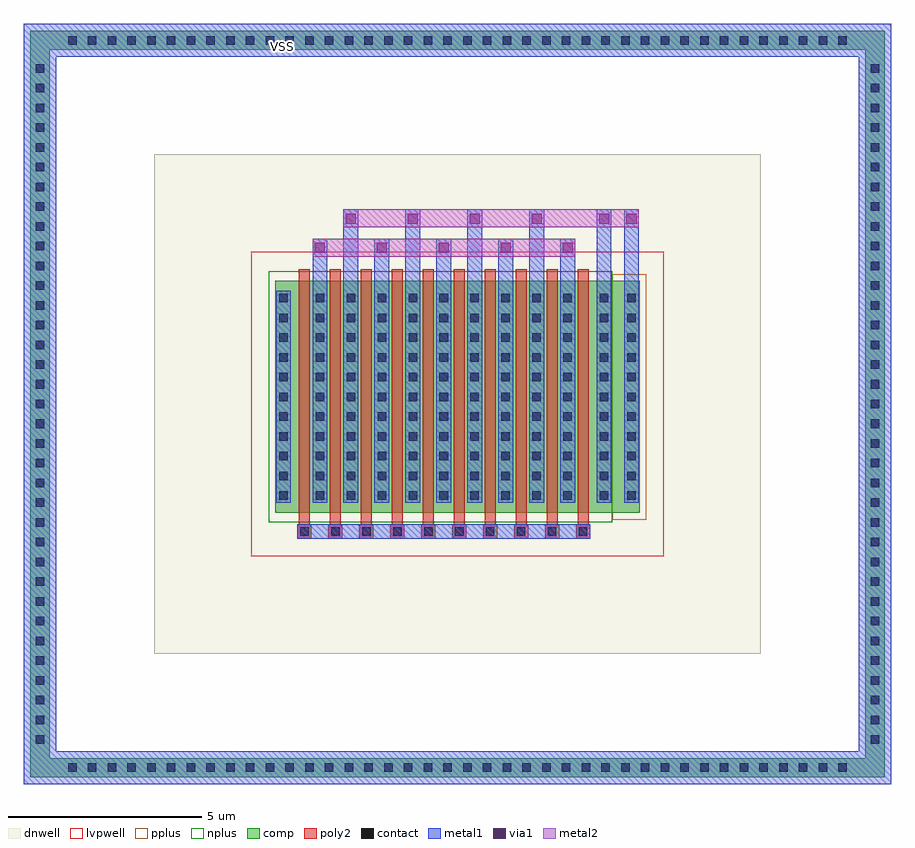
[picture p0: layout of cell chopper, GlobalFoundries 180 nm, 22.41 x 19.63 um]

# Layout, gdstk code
import gdstk
lib = gdstk.Library(unit=1e-6, precision=1e-09)
def R(c, l, rs):  # rectangles x0, y0, x1, y1
    for r in rs: c.add(gdstk.rectangle(r[:2], r[2:], *l))
def A(c, l, x, y, w, h, nx, ny, dx, dy):  # array of equal rectangles
    R(c, l, [(x+i*dx, y+j*dy, x+i*dx+w, y+j*dy+h) for i in range(nx) for j in range(ny)])
def P(c, l, *ps):  # polygons
    for p in ps: c.add(gdstk.Polygon(p, *l))
dnwell = (12, 0)
comp = (22, 0)
poly2 = (30, 0)
pplus = (31, 0)
nplus = (32, 0)
contact = (33, 0)
metal1 = (34, 0)
via1 = (35, 0)
metal2 = (36, 0)
lvpwell = (204, 0)

nfet_1 = lib.new_cell('nfet$1')
R(nfet_1, dnwell, [(-3.55,-3.26,12.12,9.63)])
R(nfet_1, comp, [(-0.42,0,0,6), (0,0,7.86,6), (7.86,0,8.28,6), (8.28,0,8.99,6)])
P(nfet_1, comp, [(-6.75,-6.46),(-6.75,12.33),(-6.25,12.33),(-6.25,-5.96),(14.82,-5.96),(14.82,12.33),(-6.75,12.33),(-6.75,12.83),(15.32,12.83),(15.32,-6.46)])
A(nfet_1, poly2, 0.19, -0.3, 0.28, 6.6, 10, 1, 0.8, 0)
A(nfet_1, poly2, 0.15, 6.3, 0.36, 0.36, 10, 1, 0.8, 0)
R(nfet_1, pplus, [(8.28,-0.17,9.16,6.17)])
P(nfet_1, pplus, [(-6.92,-6.63),(-6.92,12.16),(-6.08,12.16),(-6.08,-5.79),(14.65,-5.79),(14.65,12.16),(-6.92,12.16),(-6.92,13),(15.49,13),(15.49,-6.63)])
R(nfet_1, nplus, [(-0.59,-0.24,8.28,6.24)])
A(nfet_1, contact, -5.77, -6.32, 0.22, 0.22, 40, 2, 0.51, 18.79)
A(nfet_1, contact, -6.61, -5.595, 0.22, 0.22, 1, 35, 0, 0.51)
A(nfet_1, contact, 14.96, -5.595, 0.22, 0.22, 1, 35, 0, 0.51)
A(nfet_1, contact, -0.32, 0.34, 0.22, 0.22, 1, 11, 0, 0.51)
A(nfet_1, contact, 0.62, 0.34, 0.22, 0.22, 9, 11, 0.8, 0.51)
A(nfet_1, contact, 7.96, 0.34, 0.22, 0.22, 1, 11, 0, 0.51)
A(nfet_1, contact, 8.67, 0.34, 0.22, 0.22, 1, 11, 0, 0.51)
A(nfet_1, contact, 0.22, 6.37, 0.22, 0.22, 10, 1, 0.8, 0)
A(nfet_1, metal1, 0.54, 0.26, 0.38, 5.48, 9, 1, 0.8, 0)
A(nfet_1, metal1, 0.14, 6.29, 0.38, 0.38, 10, 1, 0.8, 0)
R(nfet_1, metal1, [(-0.4,0.26,-0.02,5.74), (7.88,0.26,8.26,5.74), (8.59,0.26,8.97,5.74)])
R(nfet_1, lvpwell, [(-1.04,-0.75,9.61,7.12)])

osc_inv = lib.new_cell('OSC_INV')
R(osc_inv, metal1, [(0,-355.18,22.41,-354.34), (21.57,-355.18,22.41,-336.4), (0,-354.34,0.84,-336.06), (0,-336.39,22.41,-335.55)])
osc_inv.add(gdstk.Reference(nfet_1, (6.92,-348.55)))

chopper = lib.new_cell('chopper')
A(chopper, metal1, -5.76, -7.058, 0.38, 2.218, 4, 1, 1.6, 0)
A(chopper, metal1, -4.96, -6.94, 0.38, 1.34, 4, 1, 1.6, 0)
R(chopper, metal1, [(7.55,-18.84,8.39,-18.83), (-6.96,-13.35,0.62,-12.97), (-6.56,-7.058,-6.18,-5.6), (-6.56,-7.058,-6.18,-5.6), (0.78,-7.058,1.16,-4.84), (1.49,-7.058,1.87,-4.84)])
A(chopper, via1, -6.5, -5.96, 0.26, 0.26, 5, 1, 1.6, 0)
A(chopper, via1, -5.7, -5.21, 0.26, 0.26, 4, 1, 1.6, 0)
R(chopper, via1, [(-6.5,-5.96,-6.24,-5.7), (0.84,-5.21,1.1,-4.95), (1.55,-5.21,1.81,-4.95)])
R(chopper, metal2, [(-6.56,-6.06,0.22,-5.6), (-5.76,-5.3,1.87,-4.84)])
chopper.add(gdstk.Reference(osc_inv, (-14.02,-355.23), x_reflection=True))
chopper.add(gdstk.Label('VSS', (-7.33,-0.62), layer=34, texttype=10))

lib.write_gds('chopper.gds')
